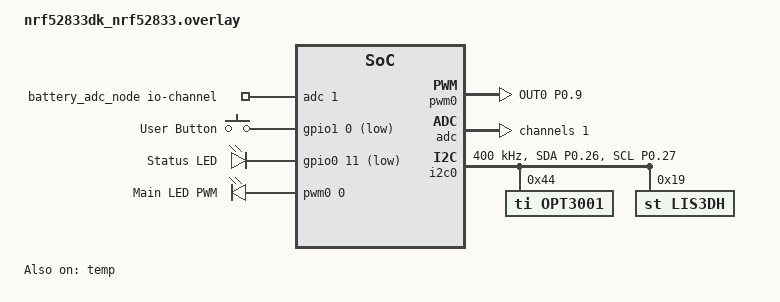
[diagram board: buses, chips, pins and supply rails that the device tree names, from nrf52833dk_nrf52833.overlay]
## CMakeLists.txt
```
cmake_minimum_required(VERSION 3.20.0)
find_package(Zephyr REQUIRED HINTS $ENV{ZEPHYR_BASE})

project(rear_light_peripheral)

# Option to enable debug features (I2C scanner and debug prints)
option(DEBUG "Enable debug features (I2C scanner and debug prints)" ON)

target_sources(app PRIVATE
    src/main.c
    src/app_events.c
    src/state_machine.c
    src/light.c
    src/status_led.c
    src/button.c
    src/sensors.c
    src/battery.c
    src/ble.c
    src/power.c
)

# Conditionally enable debug features
if(DEBUG)
    target_sources(app PRIVATE 
        src/i2c_scanner.c
    )
    target_compile_definitions(app PRIVATE 
        DEBUG=1
    )
endif()

target_include_directories(app PRIVATE
    inc/
)


target_compile_options(app PRIVATE
    -Wall
    -Wextra
    -Werror
)
```

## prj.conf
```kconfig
# Device power management (console suspend in Deep Sleep). Deep Sleep is
# System ON idle, not System OFF, so CONFIG_POWEROFF is not used (ADR-0004)
CONFIG_PM_DEVICE=y

# Software reset (sys_reboot) to recover from failed essential initialization
CONFIG_REBOOT=y

# Enable hardware info for reset reason detection
CONFIG_HWINFO=y

# Enable logging
CONFIG_LOG=y
CONFIG_LOG_DEFAULT_LEVEL=3

# Main thread runs the central state machine event loop
CONFIG_MAIN_STACK_SIZE=2048

# Enable console and RTT output
CONFIG_CONSOLE=y
CONFIG_RTT_CONSOLE=y
CONFIG_USE_SEGGER_RTT=y

# Enable GPIO
CONFIG_GPIO=y

# Enable ADC
CONFIG_ADC=y
CONFIG_ADC_NRFX_SAADC=y

# Enable PWM
CONFIG_PWM=y

# Enable work queue for button processing
CONFIG_SYSTEM_WORKQUEUE_STACK_SIZE=2048

# Enable I2C
CONFIG_I2C=y

# Enable sensors drivers
CONFIG_SENSOR=y
CONFIG_OPT3001=y
# LIS3DH accelerometer (st,lis2dh compatible); the driver defaults to y with
# the devicetree node enabled, stated explicitly so it cannot silently vanish
CONFIG_LIS2DH=y

# Enable clock control (required for temperature sensor)
CONFIG_CLOCK_CONTROL=y
CONFIG_CLOCK_CONTROL_NRF=y
CONFIG_CLOCK_CONTROL_NRF_K32SRC_RC=y

# Bluetooth Low Energy Peripheral (Slave Mode)
CONFIG_BT=y
CONFIG_BT_PERIPHERAL=y
CONFIG_BT_SMP=y
CONFIG_BT_DEVICE_NAME="Zephyr GATT Write"

CONFIG_BT_BUF_ACL_RX_SIZE=255
CONFIG_BT_BUF_ACL_TX_SIZE=251
CONFIG_BT_BUF_CMD_TX_SIZE=255
CONFIG_BT_BUF_EVT_DISCARDABLE_SIZE=255

CONFIG_BT_L2CAP_TX_MTU=247
```

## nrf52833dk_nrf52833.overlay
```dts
// To get started, press Ctrl+Space to bring up the completion menu and view the available nodes.

// You can also use the buttons in the sidebar to perform actions on nodes.
// Actions currently available include:

// * Enabling / disabling the node
// * Adding the bus to a bus
// * Removing the node
// * Connecting ADC channels

// For more help, browse the DeviceTree documentation at https://docs.zephyrproject.org/latest/guides/dts/index.html
// You can also visit the nRF DeviceTree extension documentation at https://docs.nordicsemi.com/bundle/nrf-connect-vscode/page/guides/ncs_configure_app.html#devicetree-support-in-the-extension

&uicr {
	nfct-pins-as-gpios;
};

/* Disable base board LEDs since we're using custom hardware */
&led0 {
	status = "disabled";
};

&led1 {
	status = "disabled";
};

&led2 {
	status = "disabled";
};

&led3 {
	status = "disabled";
};

/ {
	aliases {
		led0 = &led0_child;
		main-led0 = &main_led0;
		battery-adc = &battery_adc_node;
		sw0 = &button0;
	};

	/* Battery voltage via AIN5 (1M/100k divider to VBATT) */
	battery_adc_node: zephyr,user {
		io-channels = <&adc 1>;
	};

	/*
	// Fake button after solder jumper fix for SIO_38 (P1.06)
	//BUTTON on SIO_38 (P1.06) - Active low with pullup 
	buttons {
		compatible = "gpio-keys";
		button0: button_0 {
			gpios = <&gpio1 6 GPIO_ACTIVE_LOW>;
			label = "User Button";
		};
	};
	*/


	// BUTTON on SIO_32 (P1.00) - Active low with pullup 
	buttons {
		compatible = "gpio-keys";
		button0: button_0 {
			gpios = <&gpio1 0 GPIO_ACTIVE_LOW>;
			label = "User Button";
		};
	};
 	
	
	/* STATUS_LED on P0.11 (pin 11) - Active low */
	led0_node: led0 {
		compatible = "gpio-leds";
		led0_child: led_0 {
			gpios = <&gpio0 11 GPIO_ACTIVE_LOW>;
			label = "Status LED";
		};
	};

	/* MAIN_LED on P0.09 (pin 9) - PWM controlled */
	pwmleds {
		compatible = "pwm-leds";
		main_led0: main_led_0 {
			pwms = <&pwm0 0 PWM_USEC(1000) PWM_POLARITY_NORMAL>;
			label = "Main LED PWM";
		};
	};
};
&clock {
	status = "okay";
};

/* Configure PWM0 for Main LED on P0.09 */
&pwm0 {
	status = "okay";
	pinctrl-0 = <&pwm0_default>;
	pinctrl-1 = <&pwm0_sleep>;
	pinctrl-names = "default", "sleep";
};

&pinctrl {
	pwm0_default: pwm0_default {
		group1 {
			psels = <NRF_PSEL(PWM_OUT0, 0, 9)>;
			nordic,invert;
		};
	};

	pwm0_sleep: pwm0_sleep {
		group1 {
			psels = <NRF_PSEL(PWM_OUT0, 0, 9)>;
			low-power-enable;
		};
	};

	i2c0_default: i2c0_default {
		group1 {
			psels = <NRF_PSEL(TWIM_SDA, 0, 26)>,
				<NRF_PSEL(TWIM_SCL, 0, 27)>;
		};
	};

	i2c0_sleep: i2c0_sleep {
		group1 {
			psels = <NRF_PSEL(TWIM_SDA, 0, 26)>,
				<NRF_PSEL(TWIM_SCL, 0, 27)>;
			low-power-enable;
		};
	};
};

// Configure internal temperature sensor
&temp {
	status = "okay";
};

// Configure ADC: channel 1 = battery voltage (P0.29/AIN5, 1M/100k divider to VBATT)
&adc {
	#address-cells = <1>;
	#size-cells = <0>;
	status = "okay";
	/* Battery: AIN5 with gain 1 (0.6V range); divider gives V_AIN5 = VBATT/11, max ~0.38V */
	channel@1 {
		reg = <1>;
		zephyr,gain = "ADC_GAIN_1";
		zephyr,reference = "ADC_REF_INTERNAL";
		zephyr,acquisition-time = <ADC_ACQ_TIME_DEFAULT>;
		zephyr,input-positive = <NRF_SAADC_AIN5>;
		zephyr,resolution = <12>;
	};
};

// Configure I2C0 for sensors (SDA: P0.26, SCL: P0.27)
&i2c0 {
	status = "okay";
	pinctrl-0 = <&i2c0_default>;
	pinctrl-1 = <&i2c0_sleep>;
	pinctrl-names = "default", "sleep";
	clock-frequency = <400000>;

	opt3001: opt3001@44 {
		compatible = "ti,opt3001";
		reg = <0x44>;
		label = "OPT3001";
	};

	lis3dh: lis3dh@19 {
		compatible = "st,lis3dh", "st,lis2dh";
		reg = <0x19>;
		label = "LIS3DH";
		status = "okay";
		/* Note: LIS3DH uses LIS2DH driver, SA0 pin connected to VDD gives address 0x19 */
	};
};
```

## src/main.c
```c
/*
 * Copyright (c) 2025 Matthias Dippold
 *
 * This program is free software: you can redistribute it and/or modify
 * it under the terms of the GNU General Public License as published by
 * the Free Software Foundation, either version 3 of the License, or
 * (at your option) any later version.
 *
 * This program is distributed in the hope that it will be useful,
 * but WITHOUT ANY WARRANTY; without even the implied warranty of
 * MERCHANTABILITY or FITNESS FOR A PARTICULAR PURPOSE.  See the
 * GNU General Public License for more details.
 *
 * You should have received a copy of the GNU General Public License
 * along with this program.  If not, see <https://www.gnu.org/licenses/>.
 *
 * NON-COMMERCIAL USE CLAUSE:
 * Permission is granted to use, copy, modify, and distribute this software
 * and its derivatives for NON-COMMERCIAL purposes only. Commercial use of
 * this software, in whole or in part, is strictly prohibited without
 * explicit written permission from the copyright holder.
 */

#include <zephyr/kernel.h>
#include <zephyr/device.h>
#include <zephyr/devicetree.h>
#include <zephyr/drivers/hwinfo.h>
#include <zephyr/sys/reboot.h>

#include "app_events.h"
#include "state_machine.h"
#include "light.h"
#include "status_led.h"
#include "button.h"
#include "sensors.h"
#include "battery.h"
#include "ble.h"
#include "power.h"
#include "debug.h"
#ifdef DEBUG
#include "i2c_scanner.h"
#endif

/* Time to let the last debug message drain before a software reset */
#define RESET_FLUSH_DELAY_MS 100

/**
 * @brief Recover from a failed essential initialization by resetting
 *
 * Returning from main() would leave the device dead (no light, no button).
 * A software reset gives a transient fault another chance, and the boot
 * policy brings the light back on afterwards (fail operational).
 */
static FUNC_NORETURN void fatal_reset(const char *what, int err)
{
    debug_printk("%s failed: %d - resetting\n", what, err);

    /* Give the debug output time to drain before the reset */
    k_msleep(RESET_FLUSH_DELAY_MS);

    sys_reboot(SYS_REBOOT_COLD);
}

int main(void)
{
    int err;
    uint32_t boot_reset_cause = 0;
    bool boot_usb_connected;

    debug_printk("System starting...\n");

    /* Capture reset reason and USB state immediately at boot */
    power_log_reset_cause(&boot_reset_cause);
    boot_usb_connected = power_usb_present();
    debug_printk("USB VBUS: %s\n", boot_usb_connected ? "connected" : "not connected");

    /* Output hardware must be up before the state machine enters its
     * boot state */
    err = light_init();
    if (err != 0) {
        fatal_reset("Main LED init", err);
    }

    err = status_led_init();
    if (err != 0) {
        fatal_reset("Status LED init", err);
    }

    /* Non-fatal: battery sampling retries its ADC setup, and the light
     * works without sensors (SMART mode just stays dark) or BLE */
    err = battery_init();
    if (err != 0) {
        debug_printk("Battery ADC init failed: %d\n", err);
    }

    err = sensors_init();
    if (err != 0) {
        debug_printk("Sensor init failed: %d\n", err);
    }

    err = ble_init();
    if (err != 0) {
        debug_printk("BLE init failed: %d\n", err);
    }

    err = button_init();
    if (err != 0) {
        fatal_reset("Button init", err);
    }

#ifdef DEBUG
    /* Scan I2C bus for debugging */
    const struct device *const i2c_dev = DEVICE_DT_GET(DT_NODELABEL(i2c0));

    if (device_is_ready(i2c_dev)) {
        debug_printk("Scanning I2C bus during initialization...\n");
        scan_i2c_bus(i2c_dev);
    } else {
        debug_printk("I2C bus not available for scanning\n");
    }
#endif

    /* Boot into IDLE_CHARGING only on a power-on reset with USB present;
     * any other boot turns the light on
     * in the first Active Mode */
    enum system_state boot_state = sm_first_active_mode();

    if ((boot_reset_cause & RESET_POR) && boot_usb_connected) {
        debug_printk("USB POR with VBUS connected - booting into IDLE_CHARGING\n");
        boot_state = IDLE_CHARGING;
    }

    sm_init(boot_state, boot_usb_connected);

    power_usb_poll_start();

    /* Enable button interrupts AFTER slow initialization tasks so no
     * spurious events are queued during boot/wake-up */
    err = button_enable();
    if (err != 0) {
        fatal_reset("Button interrupt enable", err);
    }

    debug_printk("Initialization complete. Ready for events...\n");

    /* Main thread becomes the state machine thread */
    sm_run();

    return 0;
}
```

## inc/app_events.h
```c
/*
 * Copyright (c) 2025 Matthias Dippold
 *
 * This program is free software: you can redistribute it and/or modify
 * it under the terms of the GNU General Public License as published by
 * the Free Software Foundation, either version 3 of the License, or
 * (at your option) any later version.
 *
 * This program is distributed in the hope that it will be useful,
 * but WITHOUT ANY WARRANTY; without even the implied warranty of
 * MERCHANTABILITY or FITNESS FOR A PARTICULAR PURPOSE.  See the
 * GNU General Public License for more details.
 *
 * You should have received a copy of the GNU General Public License
 * along with this program.  If not, see <https://www.gnu.org/licenses/>.
 *
 * NON-COMMERCIAL USE CLAUSE:
 * Permission is granted to use, copy, modify, and distribute this software
 * and its derivatives for NON-COMMERCIAL purposes only. Commercial use of
 * this software, in whole or in part, is strictly prohibited without
 * explicit written permission from the copyright holder.
 */

#ifndef APP_EVENTS_H
#define APP_EVENTS_H

#include <stdint.h>
#include <zephyr/kernel.h>

/**
 * Central event bus of the application.
 *
 * Every input source (button, BLE, timers, sensors, battery, USB) posts
 * events into one message queue. The state machine thread is the single
 * consumer. Posters never read or modify system state directly.
 */

enum app_event_type {
    EVT_BUTTON_SHORT,       /* button released before long-press threshold */
    EVT_BUTTON_LONG,        /* button held for >= 1 s */
    EVT_BLE_SET_STATE,      /* arg = requested system_state (range-checked 0..4; the state machine ignores non-requestable states) */
    EVT_FLASH_STEP,         /* flash-pattern timer tick (only used in FLASH mode) */
    EVT_BATTERY_TICK,       /* 5 s battery sampling tick */
    EVT_USB_CONNECTED,      /* VBUS appeared (edge) */
    EVT_USB_DISCONNECTED,   /* VBUS vanished (edge) */
    EVT_BRAKE_START,        /* braking detected (2-sample hysteresis) */
    EVT_BRAKE_STOP,         /* braking ended (2-sample hysteresis) */
    EVT_AMBIENT_DARK,       /* ambient light below the ambient threshold */
    EVT_AMBIENT_BRIGHT,     /* ambient light at or above threshold + off offset */
    EVT_STATIONARY_TIMEOUT, /* device stationary for the auto-off period */
    EVT_BUTTON_WAKE,        /* button pressed while in Deep Sleep (wake request) */
};

struct app_event {
    uint8_t type; /* enum app_event_type */
    uint8_t arg;  /* event argument, only used by EVT_BLE_SET_STATE */
};

/**
 * @brief Post an event to the central event queue
 *
 * Safe to call from any context, including ISRs (never blocks).
 * If the queue is full the event is dropped with a warning; all event
 * sources are periodic or re-detecting, so a dropped event recurs.
 *
 * @param type Event type (enum app_event_type)
 * @param arg  Event argument (0 if unused)
 */
void app_event_post(uint8_t type, uint8_t arg);

/**
 * @brief Fetch the next event from the queue
 *
 * Must only be called by the state machine thread.
 *
 * @param evt     Destination for the received event
 * @param timeout Wait timeout (e.g. K_FOREVER)
 * @return 0 on success, negative error code otherwise
 */
int app_event_get(struct app_event *evt, k_timeout_t timeout);

#endif /* APP_EVENTS_H */
```

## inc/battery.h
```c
/*
 * Copyright (c) 2025 Matthias Dippold
 *
 * This program is free software: you can redistribute it and/or modify
 * it under the terms of the GNU General Public License as published by
 * the Free Software Foundation, either version 3 of the License, or
 * (at your option) any later version.
 *
 * This program is distributed in the hope that it will be useful,
 * but WITHOUT ANY WARRANTY; without even the implied warranty of
 * MERCHANTABILITY or FITNESS FOR A PARTICULAR PURPOSE.  See the
 * GNU General Public License for more details.
 *
 * You should have received a copy of the GNU General Public License
 * along with this program.  If not, see <https://www.gnu.org/licenses/>.
 *
 * NON-COMMERCIAL USE CLAUSE:
 * Permission is granted to use, copy, modify, and distribute this software
 * and its derivatives for NON-COMMERCIAL purposes only. Commercial use of
 * this software, in whole or in part, is strictly prohibited without
 * explicit written permission from the copyright holder.
 */

#ifndef BATTERY_H
#define BATTERY_H

#include <stdint.h>

/**
 * Battery voltage monitoring via ADC (1M/100k divider on AIN5).
 *
 * A 5 s timer posts EVT_BATTERY_TICK; the state machine thread then calls
 * battery_sample_and_process(). All hysteresis state lives in this module
 * and is only touched from the state machine context.
 */

enum battery_level {
    BATTERY_OK,       /* normal operation */
    BATTERY_LOW,      /* below 3.4 V (3 consecutive samples, with hysteresis) */
    BATTERY_CRITICAL, /* below 3.0 V for 3 consecutive samples - power off */
};

/**
 * @brief Set up the battery ADC channel and start the 5 s sampling tick
 *
 * A failed ADC setup is retried on each sample.
 *
 * @return 0 on success, negative error code if the ADC is unavailable
 */
int battery_init(void);

/**
 * @brief (Re)start the 5 s sampling tick with cleared hysteresis state
 *
 * Used after Deep Sleep so the battery logic starts as after a boot.
 */
void battery_tick_start(void);

/**
 * @brief Stop the sampling tick (Deep Sleep); no ticks are posted afterwards
 */
void battery_tick_stop(void);

/**
 * @brief Sample the battery voltage and update the level hysteresis
 *
 * Must only be called from the state machine thread (on EVT_BATTERY_TICK).
 *
 * @return Current battery level after hysteresis
 */
enum battery_level battery_sample_and_process(void);

/**
 * @brief Get the most recent battery voltage reading
 *
 * @return Battery voltage in mV (0 if no successful reading yet)
 */
uint16_t battery_last_mv(void);

#endif /* BATTERY_H */
```

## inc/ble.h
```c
/*
 * Copyright (c) 2025 Matthias Dippold
 *
 * This program is free software: you can redistribute it and/or modify
 * it under the terms of the GNU General Public License as published by
 * the Free Software Foundation, either version 3 of the License, or
 * (at your option) any later version.
 *
 * This program is distributed in the hope that it will be useful,
 * but WITHOUT ANY WARRANTY; without even the implied warranty of
 * MERCHANTABILITY or FITNESS FOR A PARTICULAR PURPOSE.  See the
 * GNU General Public License for more details.
 *
 * You should have received a copy of the GNU General Public License
 * along with this program.  If not, see <https://www.gnu.org/licenses/>.
 *
 * NON-COMMERCIAL USE CLAUSE:
 * Permission is granted to use, copy, modify, and distribute this software
 * and its derivatives for NON-COMMERCIAL purposes only. Commercial use of
 * this software, in whole or in part, is strictly prohibited without
 * explicit written permission from the copyright holder.
 */

#ifndef BLE_H
#define BLE_H

/**
 * BLE peripheral: advertising and the light-control GATT service.
 *
 * Contract (the front light central depends on this):
 *   - Advertises 16-bit service UUID 0xA000
 *   - 0xA001: READ, one byte = current system state (0..4)
 *   - 0xA002: WRITE, one byte = requested system state (0..4)
 *
 * A valid write posts EVT_BLE_SET_STATE; the state machine applies its
 * stable-window guard and performs the transition.
 */

#define BLE_SERVICE_UUID    0xA000
#define BLE_LED_STATUS_UUID 0xA001
#define BLE_CONTROL_UUID    0xA002

/**
 * @brief Enable Bluetooth and start advertising
 *
 * Advertising failures are retried every second; a disconnect restarts
 * advertising.
 *
 * @return 0 on success, negative error code on failure
 */
int ble_init(void);

/**
 * @brief Stop advertising and drop any connection (Deep Sleep)
 *
 * The stack stays enabled but idle, so ble_start() resumes quickly.
 * Advertising is not restarted after the disconnect until ble_start().
 */
void ble_stop(void);

/**
 * @brief Resume advertising after ble_stop()
 */
void ble_start(void);

#endif /* BLE_H */
```

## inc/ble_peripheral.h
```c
#ifndef BLE_PERIPHERAL_H
#define BLE_PERIPHERAL_H

int bluetooth_init(void);

#endif /* BLE_PERIPHERAL_H */
```

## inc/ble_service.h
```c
#ifndef BLE_SERVICE_H
#define BLE_SERVICE_H

#include <stdint.h>

#define BLE_SERVICE_UUID       0xA000
#define BLE_LED_STATUS_UUID    0xA001
#define BLE_CONTROL_UUID       0xA002

int ble_service_init(void);
int ble_service_set_led_status(uint8_t value);
uint8_t ble_service_get_control_value(void);

#endif /* BLE_SERVICE_H */
```

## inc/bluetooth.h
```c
/*
 * Copyright (c) 2025 Matthias Dippold
 *
 * This program is free software: you can redistribute it and/or modify
 * it under the terms of the GNU General Public License as published by
 * the Free Software Foundation, either version 3 of the License, or
 * (at your option) any later version.
 *
 * This program is distributed in the hope that it will be useful,
 * but WITHOUT ANY WARRANTY; without even the implied warranty of
 * MERCHANTABILITY or FITNESS FOR A PARTICULAR PURPOSE.  See the
 * GNU General Public License for more details.
 *
 * You should have received a copy of the GNU General Public License
 * along with this program.  If not, see <https://www.gnu.org/licenses/>.
 *
 * NON-COMMERCIAL USE CLAUSE:
 * Permission is granted to use, copy, modify, and distribute this software
 * and its derivatives for NON-COMMERCIAL purposes only. Commercial use of
 * this software, in whole or in part, is strictly prohibited without
 * explicit written permission from the copyright holder.
 */

#ifndef BLUETOOTH_H
#define BLUETOOTH_H

#ifdef BLUETOOTH


#include <zephyr/bluetooth/conn.h>
#include <zephyr/bluetooth/gatt.h>
#include <stdint.h>
#include <sys/types.h>

/**
 * @brief Initialize Bluetooth Low Energy stack
 * 
 * Initializes BLE in either master (central) or slave (peripheral) mode
 * based on BLE_MASTER preprocessor definition.
 * 
 * @return 0 on success, negative error code on failure
 */
int bluetooth_init(void);

#ifdef BLE_MASTER /* MASTER MODE */
/**
 * @brief Send button press command to remote BLE device (Master mode only)
 * 
 * Scans for, connects to, and sends a button press command to a remote BLE device.
 * The function writes a trigger value to the peripheral, which causes it to advance
 * its state machine (simulating a button press on the peripheral device).
 * The peripheral reads its own current state and advances to the next state in the cycle.
 * If the operation is already in progress (semaphore taken), this function
 * returns immediately without queuing a new operation.
 * 
 * @return void (no return value)
 */
void ble_toogle_led();
#endif /* END BLE_MASTER */

#endif /* BLUETOOTH */

#endif /* BLUETOOTH_H */
```

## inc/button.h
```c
/*
 * Copyright (c) 2025 Matthias Dippold
 *
 * This program is free software: you can redistribute it and/or modify
 * it under the terms of the GNU General Public License as published by
 * the Free Software Foundation, either version 3 of the License, or
 * (at your option) any later version.
 *
 * This program is distributed in the hope that it will be useful,
 * but WITHOUT ANY WARRANTY; without even the implied warranty of
 * MERCHANTABILITY or FITNESS FOR A PARTICULAR PURPOSE.  See the
 * GNU General Public License for more details.
 *
 * You should have received a copy of the GNU General Public License
 * along with this program.  If not, see <https://www.gnu.org/licenses/>.
 *
 * NON-COMMERCIAL USE CLAUSE:
 * Permission is granted to use, copy, modify, and distribute this software
 * and its derivatives for NON-COMMERCIAL purposes only. Commercial use of
 * this software, in whole or in part, is strictly prohibited without
 * explicit written permission from the copyright holder.
 */

#ifndef BUTTON_H
#define BUTTON_H

#include <stdbool.h>

/**
 * User button input.
 *
 * Posts EVT_BUTTON_SHORT (released before 1 s) or EVT_BUTTON_LONG
 * (held for 1 s) to the central event queue. No callbacks, no state
 * machine knowledge.
 */

/**
 * @brief Configure the button GPIO as input (interrupts not yet enabled)
 *
 * @return 0 on success, negative error code on failure
 */
int button_init(void);

/**
 * @brief Enable button edge interrupts
 *
 * Call after slow initialization tasks (e.g. I2C scanning) to avoid
 * spurious button events during boot.
 *
 * @return 0 on success, negative error code on failure
 */
int button_enable(void);

/**
 * @brief Check whether the button is currently pressed
 *
 * @return true if pressed
 */
bool button_is_pressed(void);

/**
 * @brief Arm the button as wake source for Deep Sleep
 *
 * Stops press detection and switches from the edge interrupt to a
 * one-shot level-active interrupt (nRF SENSE / PORT event, no GPIOTE
 * channel, lowest current). The first press posts EVT_BUTTON_WAKE and
 * disarms the interrupt again; if the button is already pressed the
 * event follows immediately.
 *
 * @return 0 on success, negative error code on failure
 */
int button_arm_wake(void);

/**
 * @brief Restore normal button operation
 *
 * Removes the wake interrupt (if armed), re-registers the press callback
 * and re-enables the edge interrupt. Used after waking from Deep Sleep
 * and to recover if the wake interrupt could not be armed. A button that
 * is still held produces no event; only a new press edge counts.
 *
 * @return 0 on success, negative error code on failure
 */
int button_reenable(void);

#endif /* BUTTON_H */
```

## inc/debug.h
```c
/*
 * Copyright (c) 2025 Matthias Dippold
 *
 * This program is free software: you can redistribute it and/or modify
 * it under the terms of the GNU General Public License as published by
 * the Free Software Foundation, either version 3 of the License, or
 * (at your option) any later version.
 *
 * This program is distributed in the hope that it will be useful,
 * but WITHOUT ANY WARRANTY; without even the implied warranty of
 * MERCHANTABILITY or FITNESS FOR A PARTICULAR PURPOSE.  See the
 * GNU General Public License for more details.
 *
 * You should have received a copy of the GNU General Public License
 * along with this program.  If not, see <https://www.gnu.org/licenses/>.
 *
 * NON-COMMERCIAL USE CLAUSE:
 * Permission is granted to use, copy, modify, and distribute this software
 * and its derivatives for NON-COMMERCIAL purposes only. Commercial use of
 * this software, in whole or in part, is strictly prohibited without
 * explicit written permission from the copyright holder.
 */

#ifndef DEBUG_H
#define DEBUG_H

#include <zephyr/kernel.h>

/**
 * @brief Debug print macro that conditionally uses printk
 *
 * When DEBUG is enabled, this macro behaves like printk().
 * When DEBUG is disabled, this macro does nothing (no code generated).
 *
 * Usage: debug_printk("format string", args...)
 */
#ifdef DEBUG
#define debug_printk(...) printk(__VA_ARGS__)
#else
#define debug_printk(...) ((void)0)
#endif

#endif /* DEBUG_H */
```

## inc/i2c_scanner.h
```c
/*
 * Copyright (c) 2025 Matthias Dippold
 *
 * This program is free software: you can redistribute it and/or modify
 * it under the terms of the GNU General Public License as published by
 * the Free Software Foundation, either version 3 of the License, or
 * (at your option) any later version.
 *
 * This program is distributed in the hope that it will be useful,
 * but WITHOUT ANY WARRANTY; without even the implied warranty of
 * MERCHANTABILITY or FITNESS FOR A PARTICULAR PURPOSE.  See the
 * GNU General Public License for more details.
 *
 * You should have received a copy of the GNU General Public License
 * along with this program.  If not, see <https://www.gnu.org/licenses/>.
 *
 * NON-COMMERCIAL USE CLAUSE:
 * Permission is granted to use, copy, modify, and distribute this software
 * and its derivatives for NON-COMMERCIAL purposes only. Commercial use of
 * this software, in whole or in part, is strictly prohibited without
 * explicit written permission from the copyright holder.
 */

#ifndef I2C_SCANNER_H
#define I2C_SCANNER_H

#include <zephyr/device.h>

/**
 * @brief Scan I2C bus for devices
 * 
 * Scans the I2C bus and reports all found devices.
 * Also specifically checks for known devices (OPT3001, LIS3DH).
 * 
 * @param i2c_dev I2C device pointer (e.g., from DT_NODELABEL(i2c0))
 */
void scan_i2c_bus(const struct device *i2c_dev);

#endif /* I2C_SCANNER_H */
```

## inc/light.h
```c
/*
 * Copyright (c) 2025 Matthias Dippold
 *
 * This program is free software: you can redistribute it and/or modify
 * it under the terms of the GNU General Public License as published by
 * the Free Software Foundation, either version 3 of the License, or
 * (at your option) any later version.
 *
 * This program is distributed in the hope that it will be useful,
 * but WITHOUT ANY WARRANTY; without even the implied warranty of
 * MERCHANTABILITY or FITNESS FOR A PARTICULAR PURPOSE.  See the
 * GNU General Public License for more details.
 *
 * You should have received a copy of the GNU General Public License
 * along with this program.  If not, see <https://www.gnu.org/licenses/>.
 *
 * NON-COMMERCIAL USE CLAUSE:
 * Permission is granted to use, copy, modify, and distribute this software
 * and its derivatives for NON-COMMERCIAL purposes only. Commercial use of
 * this software, in whole or in part, is strictly prohibited without
 * explicit written permission from the copyright holder.
 */

#ifndef LIGHT_H
#define LIGHT_H

#include <stdint.h>

/**
 * Main LED PWM driver (PAM2804 dimming input).
 *
 * OWNERSHIP: only the state machine thread (state_machine.c) may call
 * light_set(), so it alone decides what the light shows.
 *
 * The one exception is the blank: the sensor thread may switch the output
 * off for a short time to measure ambient light without the LED's own
 * light (light_blank_begin() / light_blank_end()). While blanked,
 * light_set() only records the requested level; light_blank_end() applies
 * the latest request. The gate is serialized by a mutex.
 */

/* PWM period: 1 kHz */
#define LIGHT_PWM_PERIOD_USEC 1000U

/* Pulse widths (microseconds within the 1000 us period) */
#define LIGHT_PULSE_OFF  0U
#define LIGHT_PULSE_BASE 200U /* normal riding brightness */
#define LIGHT_PULSE_PEAK 800U /* brake / flash peak brightness */

/**
 * @brief Initialize the main LED PWM (period set, output off)
 *
 * @return 0 on success, negative error code on failure
 */
int light_init(void);

/**
 * @brief Set the main LED pulse width
 *
 * @param pulse_usec Pulse width in microseconds (0 = off)
 */
void light_set(uint32_t pulse_usec);

/**
 * @brief Switch the main LED off for an ambient light measurement
 *
 * Only for the sensor thread. The level requested through light_set()
 * is kept and restored by light_blank_end(). Every call must be paired
 * with light_blank_end(), also on errors.
 */
void light_blank_begin(void);

/**
 * @brief End a blank and apply the latest level requested via light_set()
 */
void light_blank_end(void);

#endif /* LIGHT_H */
```

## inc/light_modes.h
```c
/*
 * Copyright (c) 2025 Matthias Dippold
 *
 * This program is free software: you can redistribute it and/or modify
 * it under the terms of the GNU General Public License as published by
 * the Free Software Foundation, either version 3 of the License, or
 * (at your option) any later version.
 *
 * This program is distributed in the hope that it will be useful,
 * but WITHOUT ANY WARRANTY; without even the implied warranty of
 * MERCHANTABILITY or FITNESS FOR A PARTICULAR PURPOSE.  See the
 * GNU General Public License for more details.
 *
 * You should have received a copy of the GNU General Public License
 * along with this program.  If not, see <https://www.gnu.org/licenses/>.
 *
 * NON-COMMERCIAL USE CLAUSE:
 * Permission is granted to use, copy, modify, and distribute this software
 * and its derivatives for NON-COMMERCIAL purposes only. Commercial use of
 * this software, in whole or in part, is strictly prohibited without
 * explicit written permission from the copyright holder.
 */

#ifndef LIGHT_MODES_H
#define LIGHT_MODES_H

#include <stdint.h>
#include <stdbool.h>
#include <zephyr/kernel.h>

/**
 * @brief LED state machine states
 */
enum system_state {
    LED_OFF = 0,     /* 0% duty cycle */
    LED_50_PERCENT,  /* 50% duty cycle */
    LED_50_80_FLASH, /* High visibility mode: 50% with periodic 80% flashes */
    LED_SMART_MODE,  /* Smart mode: adaptive brightness based on braking and ambient light */
    IDLE_CHARGING    /* USB connected, main LED off, status LED fast blink (charging) */
};

/** @brief Timer expiry callback for the flash timer */
void flash_timer_expiry(struct k_timer *timer);

/** @brief Timer expiry callback for the blink timer */
void blink_timer_expiry(struct k_timer *timer);

/** @brief Timer expiry callback for the status LED timer */
void status_led_timer_expiry(struct k_timer *timer);

/**
 * @brief Initialize PWM LED hardware
 * 
 * Configures PWM device and sets LED to off state.
 * 
 * @return 0 on success, negative error code on failure
 */
int flash_timers_init(void);

/**
 * @brief Initialize Status LED GPIO
 * 
 * Initializes and starts the timer for the STATUS LED.
 * 
 * @return 0 on success, negative error code on failure
 */
int status_led_init(void);

/**
 * @brief Stop any active blinking mode
 * Sets LED brightness to 0% (off).
 */
void light_modes_stop_blinking(void);

/**
 * @brief Set LED brightness to 50%
 * Stops any active blinking mode.
 */
void light_modes_set_50_percent(void);

/**
 * @brief Set LED to high visibility blinking mode
 * 
 * LED runs at 50% duty cycle normally, and flashes to 80% for 100ms every second.
 */
void light_modes_set_100_percent(void);

/**
 * @brief Initialize SMART_MODE
 * 
 * Sets LED to initial state for SMART_MODE operation.
 * Actual brightness is controlled by environmental conditions.
 */
void light_modes_set_smart_mode(void);

/**
 * @brief Update PWM in SMART_MODE based on environmental state
 * 
 * Should be called when environmental conditions change (braking, ambient light).
 * Reads global environmental state and adjusts PWM accordingly.
 */
void light_modes_update_smart_pwm(void);

/**
 * @brief Get current PWM pulse width
 * 
 * @return Current PWM pulse width in microseconds
 */
uint32_t light_modes_get_current_pwm(void);

/**
 * @brief Set main LED to off
 * 
 * Sets LED PWM to 0% duty cycle.
 */
void light_modes_off_main_led(void);

/**
 * @brief Start the status LED timer
 * 
 * Starts the periodic timer that blinks the status LED.
 */
void light_modes_start_status_led(void);

/**
 * @brief Stop the status LED timer
 * 
 * Stops the status LED timer and turns off the LED.
 */
void light_modes_stop_status_led(void);

/**
 * @brief Set status LED from battery state
 *
 * When low_battery is true, starts blinking; when false, stops and turns off.
 */
void light_modes_set_status_led_battery(bool low_battery);

/**
 * @brief Set status LED charging state
 *
 * When charging is true (VBUS connected), status LED blinks fast (300ms).
 * Lower priority than low battery blink.
 */
void light_modes_set_status_led_charging(bool charging);

#endif /* LIGHT_MODES_H */
```

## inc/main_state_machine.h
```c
/*
 * Copyright (c) 2025 Matthias Dippold
 *
 * This program is free software: you can redistribute it and/or modify
 * it under the terms of the GNU General Public License as published by
 * the Free Software Foundation, either version 3 of the License, or
 * (at your option) any later version.
 *
 * This program is distributed in the hope that it will be useful,
 * but WITHOUT ANY WARRANTY; without even the implied warranty of
 * MERCHANTABILITY or FITNESS FOR A PARTICULAR PURPOSE.  See the
 * GNU General Public License for more details.
 *
 * You should have received a copy of the GNU General Public License
 * along with this program.  If not, see <https://www.gnu.org/licenses/>.
 *
 * NON-COMMERCIAL USE CLAUSE:
 * Permission is granted to use, copy, modify, and distribute this software
 * and its derivatives for NON-COMMERCIAL purposes only. Commercial use of
 * this software, in whole or in part, is strictly prohibited without
 * explicit written permission from the copyright holder.
 */

#ifndef MAIN_STATE_MACHINE_H
#define MAIN_STATE_MACHINE_H

#include <stdbool.h>
#include "light_modes.h"
#include "button.h"

/**
 * @brief Initialize the main state machine
 * 
 * Sets up the state machine and connects button and LED control.
 * 
 * @return 0 on success, negative error code on failure
 */
int main_state_machine_init(void);

/**
 * @brief Handle button press event
 * 
 * Called by button module when a button press is detected.
 * This function cycles through LED brightness states.
 */
void main_state_machine_on_button_press(void);

/**
 * @brief Handle state advance based on source (button or BLE)
 *
 * BLE-triggered advances cycle only through active states and never sleep.
 *
 * @param source The source of the advance (button short/long or BLE)
 */
void main_state_machine_advance(enum button_press_type source);

/**
 * @brief Automatically turn off LED
 * 
 * Called by stationary monitor when device has been stationary for too long.
 * Only acts if current state is SMART_MODE.
 * 
 */
void main_state_machine_auto_off(void);

/**
 * @brief Reset the button advance expire timer
 * 
 * Called when a button press occurs. Restarts the 10-second timer
 * and sets button_advance_expire to false, allowing normal state cycling.
 */
void main_state_machine_reset_advance_timer(void);

/**
 * @brief Get current LED state
 * 
 * @return Current LED brightness state
 */
enum system_state main_state_machine_get_state(void);

/**
 * @brief Get last LED state change timestamp (ms since boot)
 *
 * @return Timestamp of last state change
 */
int64_t main_state_machine_last_change_ms(void);

/**
 * @brief Set LED state directly (for external control, e.g., BLE)
 *
 * Allows external modules to directly set the LED state.
 * This bypasses the normal button press cycle.
 *
 * @param new_state The state to transition to
 * @return 0 on success, negative error code on failure
 */
int main_state_machine_set_state(enum system_state new_state);

/**
 * @brief Set USB VBUS connected state (used for SMART_MODE -> IDLE_CHARGING vs LED_OFF)
 */
void main_state_machine_set_usb_connected(bool connected);

/* Global LED state */
extern enum system_state g_system_state;

#endif /* MAIN_STATE_MACHINE_H */
```
